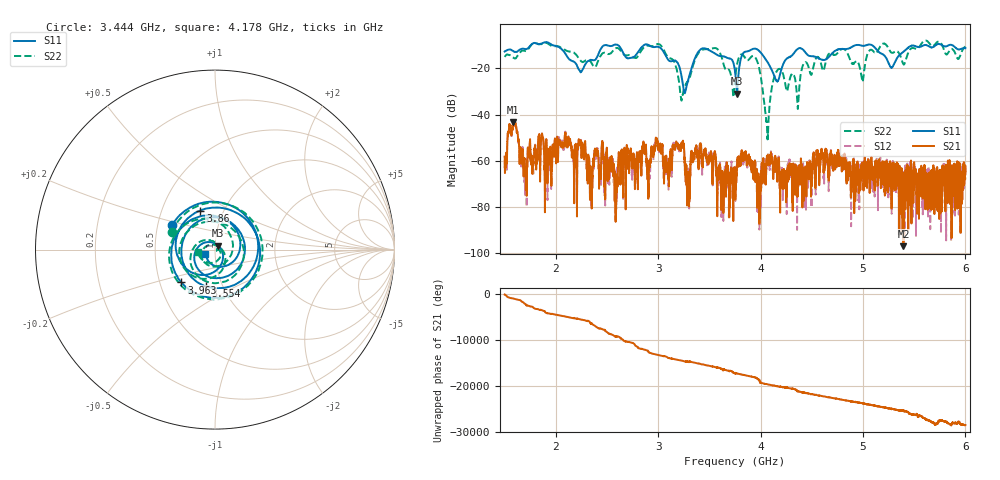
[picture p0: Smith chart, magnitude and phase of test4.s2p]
!Keysight Technologies N9923A: A.08.15
!Date: Monday, 19 February 2024 15:49:46
!Timezone: (GMT-05:00) Eastern Time (US & Canada)
!Model: N9923A
!Serial: MY52412730
!GPS Latitude:
!GPS Longitude:
!GPS TimeStamp: 0001-01-01 00:00:00Z
!GPS Seconds Since Last Read: 0
!CHECKSUM:1162908266
!Correction: S11(ON Q)S21(ON Q)S12(ON Q)S22(ON Q)
!S2P File: Measurements:S11,S21,S12,S22:
# Hz S DB R 50
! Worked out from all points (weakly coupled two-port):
!   4001 points, 1.5 GHz to 6 GHz, reference 50 ohm
!   highest |S21| = -43.31 dB at 1.584 GHz (marker M1); lowest = -97.0 dB at 5.395 GHz (marker M2)
!   lowest |S11| = -31.0 dB at 3.769 GHz (marker M3), VSWR 1.06, Z = 51.7 + j2.32 ohm
!   |S11| at or under -10 dB: 1.974 GHz to 2.47 GHz (495.3 MHz wide, 22.3 % of centre); 2.913 GHz to 4.92 GHz (2.007 GHz wide, 51.2 % of centre); 5.092 GHz to 5.592 GHz (500 MHz wide, 9.36 % of centre) (the widest 3 of 10)
!   |S22| runs from -50.7 to -7.9 dB; largest |S21 - S12| = 0.0012
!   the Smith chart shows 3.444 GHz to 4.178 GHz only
!   S11 on the Smith chart (normalised r, x): 3.444 GHz: 0.60, +0.17; 3.554 GHz: 0.83, -0.36; 3.86 GHz: 0.78, +0.36; 3.963 GHz: 0.65, -0.25; 4.178 GHz: 0.90, -0.04
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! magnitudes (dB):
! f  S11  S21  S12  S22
! 1.5 GHz  -12.7  -58.2  -60.8  -15.0
! 1.584 GHz  -12.5  -43.3  -43.8  -15.3
! 1.701 GHz  -11.6  -65.0  -69.7  -12.4
! 2.25 GHz  -21.3  -58.7  -57.4  -17.0
! 2.582 GHz  -9.6  -69.6  -70.1  -11.3
! 3.001 GHz  -10.6  -53.7  -54.3  -9.4
! 3.093 GHz  -16.0  -63.3  -61.1  -15.0
! 3.232 GHz  -24.6  -54.1  -53.9  -32.8
! 3.289 GHz  -25.6  -65.8  -72.4  -25.6
! 3.444 GHz  -11.2  -57.5  -57.5  -11.7
! 3.554 GHz  -13.5  -56.7  -56.0  -11.2
! 3.75 GHz  -21.1  -64.4  -68.1  -24.9
! 3.769 GHz  -31.0  -63.8  -60.0  -18.4
! 3.86 GHz  -12.7  -57.4  -58.6  -16.2
! 3.963 GHz  -11.6  -65.8  -73.6  -16.4
! 4.063 GHz  -16.9  -61.4  -61.5  -45.8
! 4.178 GHz  -24.6  -61.1  -59.3  -20.3
! 4.361 GHz  -11.6  -63.3  -68.7  -36.7
! 4.5 GHz  -14.7  -67.0  -67.1  -22.3
! 5.251 GHz  -17.7  -68.3  -66.3  -11.4
! 5.395 GHz  -12.8  -97.0  -73.3  -18.1
! 6 GHz  -11.2  -64.5  -68.1  -10.5
